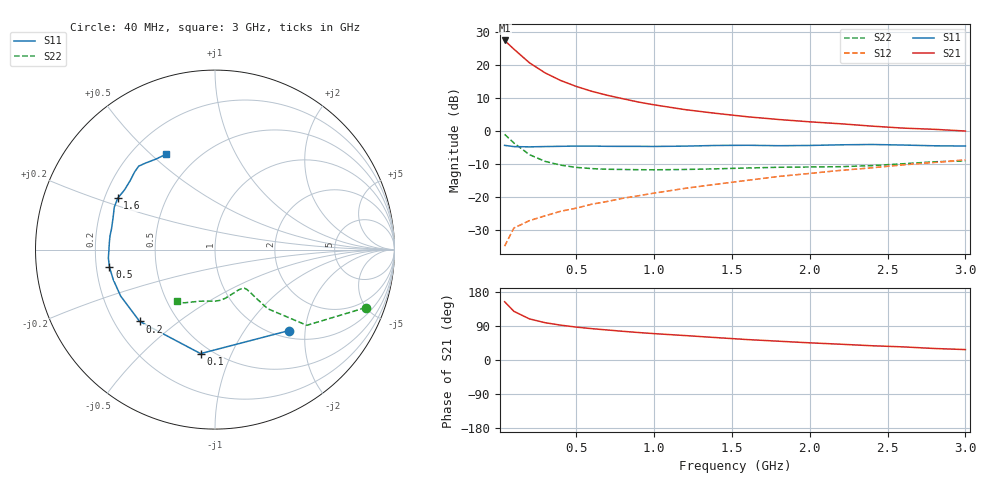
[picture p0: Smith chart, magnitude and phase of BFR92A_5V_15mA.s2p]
! Filename:  BFR92AD.S2P  Version:  2.0
! Philips part #: BFR92A  Date: May 1990
! Bias condition: Vce=5V, Ic=15mA
#  MHz  S  MA  R  50
! Freq  S11  S21  S12  S22  !GUM [dB]
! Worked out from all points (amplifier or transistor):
!   21 points, 40 MHz to 3 GHz, reference 50 ohm
!   highest |S21| = 27.6 dB at 40 MHz (marker M1)
!   |S21| within 3 dB of that: start of sweep to 108.5 MHz
!   unconditionally stable (mu >= 1): 699.9 MHz to 1.736 GHz
!   at 300 MHz: K = 0.72, MSG = 21.7 dB, |S12| = -25.7 dB
!   at 1 GHz: K = 1.06, MAG = 11.9 dB, |S12| = -18.8 dB
!   at 3 GHz: K = 0.98, MSG = 4.4 dB, |S12| = -8.7 dB
!   S11 on the Smith chart (normalised r, x): 40 MHz: 1.14, -1.64; 100 MHz: 0.44, -0.77; 200 MHz: 0.30, -0.37; 500 MHz: 0.25, -0.08; 1.6 GHz: 0.25, +0.23; 3 GHz: 0.34, +0.56
40  0.611 -47.6  23.94 153.8  0.018 70.1  0.899 -21.1
100  0.585 -97.9  17.65 128.3  0.034 53.6  0.663 -39.5
200  0.58 -136.4  10.94 108.4  0.044 49.3  0.441 -48.3
300  0.586 -153.8  7.705 98.4  0.052 50.8  0.349 -49.8
400  0.591 -163.6  5.905 92.0  0.061 54.1  0.306 -50.6
500  0.596 -170.5  4.8 86.8  0.068 57.6  0.283 -51.4
600  0.596 -175.5  4.045 82.7  0.078 60.2  0.271 -52.7
700  0.591 -179.8  3.519 79.2  0.086 62.2  0.265 -54.4
800  0.59 176.4  3.119 75.7  0.096 64.2  0.263 -56.3
900  0.59 172.5  2.777 72.5  0.105 65.3  0.261 -58.4
1000  0.588 168.7  2.522 69.6  0.115 66.6  0.26 -60.9
1200  0.595 162.6  2.131 64.5  0.136 68.3  0.263 -66.0
1400  0.609 157.1  1.869 59.1  0.157 68.8  0.269 -72.4
1600  0.613 152.1  1.661 53.9  0.18 69.8  0.277 -78.0
1800  0.604 146.7  1.51 49.6  0.206 69.4  0.284 -83.8
2000  0.609 140.9  1.392 45.3  0.229 69.5  0.287 -90.0
2200  0.623 135.9  1.299 41.6  0.255 68.7  0.29 -98.3
2400  0.63 132.4  1.197 37.6  0.279 68.7  0.301 -107.1
2600  0.618 128.7  1.117 34.6  0.309 67.3  0.321 -114.3
2800  0.602 123.0  1.071 30.4  0.336 65.4  0.344 -120.4
3000  0.597 117.1  1.009 27.5  0.368 64.8  0.355 -126.1
